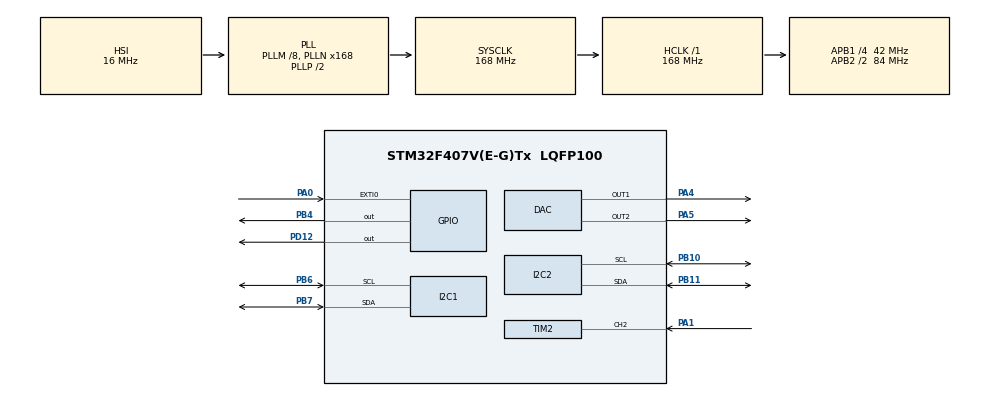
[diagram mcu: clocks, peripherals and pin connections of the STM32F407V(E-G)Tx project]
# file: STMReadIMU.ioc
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I2C1.I2C_Mode=I2C_Fast
I2C2.I2C_Mode=I2C_Fast
Mcu.Family=STM32F4
Mcu.Name=STM32F407V(E-G)Tx
Mcu.Package=LQFP100
NVIC.EXTI0_IRQn=true\:0\:0\:false\:false\:true\:true\:true\:true
NVIC.PriorityGroup=NVIC_PRIORITYGROUP_4
NVIC.TIM2_IRQn=true\:0\:0\:false\:false\:true\:true\:true\:true
NVIC.TIM3_IRQn=true\:0\:0\:false\:false\:true\:true\:true\:true
PA0-WKUP.Signal=GPXTI0
PA1.Signal=S_TIM2_CH2
PA13.Mode=Serial_Wire
PA13.Signal=SYS_JTMS-SWDIO
PA14.Mode=Serial_Wire
PA14.Signal=SYS_JTCK-SWCLK
PA4.Signal=COMP_DAC1_group
PA5.Signal=COMP_DAC2_group
PB10.Mode=I2C
PB10.Signal=I2C2_SCL
PB11.Mode=I2C
PB11.Signal=I2C2_SDA
PB4.Signal=GPIO_Output
PB6.GPIO_Pu=GPIO_NOPULL
PB6.Mode=I2C
PB6.Signal=I2C1_SCL
PB7.Mode=I2C
PB7.Signal=I2C1_SDA
PD12.Signal=GPIO_Output
ProjectManager.HeapSize=0x200
ProjectManager.StackSize=0x400
ProjectManager.TargetToolchain=MDK-ARM V5.32
RCC.48MHZClocksFreq_Value=84000000
RCC.AHBFreq_Value=168000000
RCC.APB1CLKDivider=RCC_HCLK_DIV4
RCC.APB1Freq_Value=42000000
RCC.APB1TimFreq_Value=84000000
RCC.APB2CLKDivider=RCC_HCLK_DIV2
RCC.APB2Freq_Value=84000000
RCC.APB2TimFreq_Value=168000000
RCC.CortexFreq_Value=168000000
RCC.HCLKFreq_Value=168000000
RCC.HSE_VALUE=25000000
RCC.HSI_VALUE=16000000
RCC.LSE_VALUE=32768
RCC.PLLM=8
RCC.PLLN=168
RCC.SYSCLKFreq_VALUE=168000000
RCC.SYSCLKSource=RCC_SYSCLKSOURCE_PLLCLK
RCC.VCOOutputFreq_Value=336000000
SH.COMP_DAC1_group.0=DAC_OUT1,DAC_OUT1
SH.COMP_DAC2_group.0=DAC_OUT2,DAC_OUT2
SH.S_TIM2_CH2.0=TIM2_CH2,TriggerSource_TI2FP2
TIM1.Prescaler=16799
TIM2.Period=99
TIM2.Slave_TriggerFilter=10
TIM3.Period=4999
TIM3.Prescaler=167
TIM4.Prescaler=83
VP_TIM1_VS_ClockSourceINT.Mode=Internal
VP_TIM2_VS_ControllerModeClock.Mode=Clock Mode
VP_TIM3_VS_ClockSourceINT.Mode=Internal
VP_TIM4_VS_ClockSourceINT.Mode=Internal
board=custom

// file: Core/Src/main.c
/* USER CODE BEGIN Header */
/**
  ******************************************************************************
  * @file           : main.c
  * @brief          : Main program body
  ******************************************************************************
  * @attention
  *
  * Copyright (c) 2026 STMicroelectronics.
  * All rights reserved.
  *
  * This software is licensed under terms that can be found in the LICENSE file
  * in the root directory of this software component.
  * If no LICENSE file comes with this software, it is provided AS-IS.
  *
  ******************************************************************************
  */
/* USER CODE END Header */
#include "main.h"
#include "dac.h"
#include "i2c.h"
#include "tim.h"
#include "gpio.h"

/* USER CODE BEGIN Includes */
#include <stdio.h>
#include <string.h>
#include "lsm6dsv_reg.h"
#include "stdbool.h"
#include "math.h"
#include "vqf6d.h"
#include "Estimate.h"
#include "utilzfunc.h"
#include "MadgwickAHRS.h"
/* USER CODE END Includes */

/* USER CODE BEGIN PTD */
#define DAC_MAX_VAL 0xFFF //
#define I2C1_SCL_PORT          GPIOB
#define I2C1_SCL_PIN           GPIO_PIN_6

#define I2C1_SDA_PORT          GPIOB
#define I2C1_SDA_PIN           GPIO_PIN_7

#define I2C2_SCL_PORT          GPIOB
#define I2C2_SCL_PIN           GPIO_PIN_10

#define I2C2_SDA_PORT          GPIOB
#define I2C2_SDA_PIN           GPIO_PIN_11

/* USER CODE END PTD */

/* USER CODE BEGIN PM */
int32_t writeI2CReg(void *handle, uint8_t reg, const uint8_t *bufp, uint16_t len);
int32_t readI2CReg(void *handle, uint8_t reg, uint8_t *bufp, uint16_t len);
void delay_ms(uint32_t ms);
void GetRawSensor(stmdev_ctx_t *dev_ctx,int16_t *acc_raw, int16_t *gyro_raw);
void GetCorrectedSensor(stmdev_ctx_t *dev_ctx, float *corrected_acc, float *corrected_gyr, int16_t *gyr_offset);
void ConfigureIMU(void);
HAL_StatusTypeDef I2C_BusRecovery(I2C_HandleTypeDef *I2Cx);
void CalibGyro(void);
int16_t test_angular_rate_raw[3];
float min(float a,float b);
float max(float a,float b);

/* USER CODE END PM */

/* USER CODE BEGIN PV */
uint8_t whoAmI1 = 0xFF;
uint8_t whoAmI2 = 0xFF;
uint8_t rst = 0;
uint8_t cnt1s = 0;
static int32_t acc_raw_acum1[3],acc_raw_acum2[3];
static int32_t gyr_raw_acum1[3],gyr_raw_acum2[3];
int16_t gyr_offset1[3] = {0,0,0};
int16_t gyr_offset2[3] = {0,0,0};
volatile int16_t acc_offset[3] = {0, 0, 0};
uint16_t calib_step = 0;
float compute_time;
//int32_t test_sum_gyr[3] = {0, 0, 0};
//uint16_t test_count = 0;
//float test_bias_x,test_bias_y,test_bias_z;
bool calib_enable = false; bool calib_occur = false;
float gValue1[3],gValue2[3];
float gyro1[3],gyro2[3];
float acc_test = 0;
float dac_bending = 0;
float dac_twisting = 0;
float test_compute1 = 0;
float test_compute2 = 0;
HAL_StatusTypeDef status;
uint16_t i2c2_error = 0;
float q1_E1S1[4], q2_E2S2[4];
float R1_E1S1[3][3], R2_E2S2[3][3];
static lsm6dsv_filt_settling_mask_t filt_settling_mask;
lsm6dsv_all_sources_t all_sources1,all_sources2;
stmdev_ctx_t dev_ctx1, dev_ctx2;
HAL_StatusTypeDef status_i2c2;
uint32_t error_i2c2;
static VQF6D vqf1;
static VQF6D vqf2;
Estimator estimator;
CalibProcess IMUCalib;
lsm6dsv_gy_full_scale_t fs1;
lsm6dsv_gy_full_scale_t fs2;
float twist_test = 0.0f;
float bend_test = 0.0f;
MadgwickFilter filter;
/* USER CODE END PV */

void SystemClock_Config(void);

int main(void)
{

  /* MCU Configuration--------------------------------------------------------*/

  /* Reset of all peripherals, Initializes the Flash interface and the Systick. */
  HAL_Init();

  /* Configure the system clock */
  SystemClock_Config();

  /* Initialize all configured peripherals */
  MX_GPIO_Init();
  MX_DAC_Init();
  MX_I2C1_Init();
  MX_TIM1_Init();
  MX_TIM2_Init();
  MX_I2C2_Init();
  MX_TIM3_Init();
  MX_TIM4_Init();
  /* USER CODE BEGIN 2 */
	HAL_TIM_Base_Start(&htim1);
	HAL_TIM_Base_Start_IT(&htim2);
	HAL_TIM_Base_Start(&htim4);
	HAL_DAC_Start(&hdac, DAC_CHANNEL_1);
	HAL_DAC_Start(&hdac, DAC_CHANNEL_2);
	dev_ctx1.write_reg = writeI2CReg;
	dev_ctx1.read_reg = readI2CReg;
	dev_ctx1.handle = &hi2c1;
	dev_ctx1.mdelay = delay_ms;
	dev_ctx2.write_reg = writeI2CReg;
	dev_ctx2.read_reg = readI2CReg;
	dev_ctx2.handle = &hi2c2;
	dev_ctx2.mdelay = delay_ms;
//	uint8_t i;
//	for(i = 1; i < 128; i++)
//	{
//		 if(HAL_I2C_IsDeviceReady(&hi2c2, (i << 1), 1, 10) == HAL_OK)
//		 {
//			 test_compute1 = 99;
//			 test_compute2 = i;
//			 break;
//     }
//		 else
//		 {
//				i2c2_error = HAL_I2C_GetError(&hi2c2);
//		 }
//	}
	lsm6dsv_device_id_get(&dev_ctx1, &whoAmI1);
 	while(whoAmI1 != LSM6DSV_ID)
	{
		rst = I2C_BusRecovery(&hi2c1);
		lsm6dsv_device_id_get(&dev_ctx1, &whoAmI1);
	}
	rst = lsm6dsv_sw_reset(&dev_ctx1);
	delay_ms(10);
	lsm6dsv_device_id_get(&dev_ctx2, &whoAmI2);
 	while(whoAmI2 != LSM6DSV_ID)
	{
		rst = I2C_BusRecovery(&hi2c2);
		lsm6dsv_device_id_get(&dev_ctx2, &whoAmI2);
	}
	rst = lsm6dsv_sw_reset(&dev_ctx2);
	delay_ms(10);
	/* Restore default configuration */
	lsm6dsv_sw_por(&dev_ctx1);
	delay_ms(10);
	lsm6dsv_sw_por(&dev_ctx2);
	delay_ms(10);
	ConfigureIMU();
	delay_ms(50);
	CalibGyro();
	VQF6D_Params p;
	VQF6D_GetDefaultParams(&p);
	VQF6D_Init(&vqf1, 0.01f, 0.01f, &p);
	VQF6D_Init(&vqf2, 0.01f, 0.01f, &p);
	InitEstimator(&estimator);
	InitFilter(&filter);
	InitCalibProcess(&IMUCalib);
	HAL_TIM_Base_Start_IT(&htim3);
  /* USER CODE END 2 */

  /* Infinite loop */
  while (1)
  {

  }
}

void SystemClock_Config(void)
{
  RCC_OscInitTypeDef RCC_OscInitStruct = {0};
  RCC_ClkInitTypeDef RCC_ClkInitStruct = {0};

  /** Configure the main internal regulator output voltage
  */
  __HAL_RCC_PWR_CLK_ENABLE();
  __HAL_PWR_VOLTAGESCALING_CONFIG(PWR_REGULATOR_VOLTAGE_SCALE1);

  /** Initializes the RCC Oscillators according to the specified parameters
  * in the RCC_OscInitTypeDef structure.
  */
  RCC_OscInitStruct.OscillatorType = RCC_OSCILLATORTYPE_HSI;
  RCC_OscInitStruct.HSIState = RCC_HSI_ON;
  RCC_OscInitStruct.HSICalibrationValue = RCC_HSICALIBRATION_DEFAULT;
  RCC_OscInitStruct.PLL.PLLState = RCC_PLL_ON;
  RCC_OscInitStruct.PLL.PLLSource = RCC_PLLSOURCE_HSI;
  RCC_OscInitStruct.PLL.PLLM = 8;
  RCC_OscInitStruct.PLL.PLLN = 168;
  RCC_OscInitStruct.PLL.PLLP = RCC_PLLP_DIV2;
  RCC_OscInitStruct.PLL.PLLQ = 4;
  if (HAL_RCC_OscConfig(&RCC_OscInitStruct) != HAL_OK)
  {
    Error_Handler();
  }

  /** Initializes the CPU, AHB and APB buses clocks
  */
  RCC_ClkInitStruct.ClockType = RCC_CLOCKTYPE_HCLK|RCC_CLOCKTYPE_SYSCLK
                              |RCC_CLOCKTYPE_PCLK1|RCC_CLOCKTYPE_PCLK2;
  RCC_ClkInitStruct.SYSCLKSource = RCC_SYSCLKSOURCE_PLLCLK;
  RCC_ClkInitStruct.AHBCLKDivider = RCC_SYSCLK_DIV1;
  RCC_ClkInitStruct.APB1CLKDivider = RCC_HCLK_DIV4;
  RCC_ClkInitStruct.APB2CLKDivider = RCC_HCLK_DIV2;

  if (HAL_RCC_ClockConfig(&RCC_ClkInitStruct, FLASH_LATENCY_5) != HAL_OK)
  {
    Error_Handler();
  }
}

/* USER CODE BEGIN 4 */
int32_t writeI2CReg(void *handle, uint8_t reg, const uint8_t *bufp, uint16_t len)
{
	HAL_I2C_Mem_Write(handle, LSM6DSV_I2C_ADD_H, reg, I2C_MEMADD_SIZE_8BIT, (uint8_t*) bufp, len, 1000);
	return 0;
}
int32_t readI2CReg(void *handle, uint8_t reg, uint8_t *bufp, uint16_t len)
{
	HAL_I2C_Mem_Read(handle, LSM6DSV_I2C_ADD_H, reg, I2C_MEMADD_SIZE_8BIT, bufp, len, 1000);
	return 0;
}
void delay_ms(uint32_t ms)
{
	__HAL_TIM_SET_COUNTER(&htim1,0);
	while (__HAL_TIM_GET_COUNTER(&htim1) < ms*10);
}

void ConfigureIMU(void)
{
    /* Enable Block Data Update */
    lsm6dsv_block_data_update_set(&dev_ctx1, PROPERTY_ENABLE);
    lsm6dsv_xl_data_rate_set(&dev_ctx1, LSM6DSV_ODR_AT_1920Hz);
    lsm6dsv_gy_data_rate_set(&dev_ctx1, LSM6DSV_ODR_AT_1920Hz);

    /* Set full scale */
    lsm6dsv_xl_full_scale_set(&dev_ctx1, LSM6DSV_4g);
    lsm6dsv_gy_full_scale_set(&dev_ctx1, LSM6DSV_500dps);
    /*Set mode*/
    lsm6dsv_xl_mode_set(&dev_ctx1, LSM6DSV_XL_HIGH_PERFORMANCE_MD);
    lsm6dsv_gy_mode_set(&dev_ctx1, LSM6DSV_GY_HIGH_PERFORMANCE_MD);
    /* Configure filtering chain */
    filt_settling_mask.drdy = PROPERTY_ENABLE;
    filt_settling_mask.irq_xl = PROPERTY_ENABLE;
    filt_settling_mask.irq_g = PROPERTY_ENABLE;
    lsm6dsv_filt_settling_mask_set(&dev_ctx1, filt_settling_mask);
	// Gyrocope LPF Bandwidth: 154Hz
    lsm6dsv_filt_gy_lp1_set(&dev_ctx1, PROPERTY_ENABLE);
    lsm6dsv_filt_gy_lp1_bandwidth_set(&dev_ctx1, LSM6DSV_GY_MEDIUM);
	// Accelerometer LPF Bandwidth:
    lsm6dsv_filt_xl_lp2_set(&dev_ctx1, PROPERTY_ENABLE);
    lsm6dsv_filt_xl_lp2_bandwidth_set(&dev_ctx1, LSM6DSV_XL_MEDIUM);
		lsm6dsv_gy_full_scale_get(&dev_ctx1, &fs1);
		 /* Enable Block Data Update */
    lsm6dsv_block_data_update_set(&dev_ctx2, PROPERTY_ENABLE);
    lsm6dsv_xl_data_rate_set(&dev_ctx2, LSM6DSV_ODR_AT_1920Hz);
    lsm6dsv_gy_data_rate_set(&dev_ctx2, LSM6DSV_ODR_AT_1920Hz);

    /* Set full scale */
    lsm6dsv_xl_full_scale_set(&dev_ctx2, LSM6DSV_4g);
    lsm6dsv_gy_full_scale_set(&dev_ctx2, LSM6DSV_500dps);
    /*Set mode*/
    lsm6dsv_xl_mode_set(&dev_ctx2, LSM6DSV_XL_HIGH_PERFORMANCE_MD);
    lsm6dsv_gy_mode_set(&dev_ctx2, LSM6DSV_GY_HIGH_PERFORMANCE_MD);
    lsm6dsv_filt_settling_mask_set(&dev_ctx2, filt_settling_mask);
	// Gyrocope LPF Bandwidth: 154Hz
    lsm6dsv_filt_gy_lp1_set(&dev_ctx2, PROPERTY_ENABLE);
    lsm6dsv_filt_gy_lp1_bandwidth_set(&dev_ctx2, LSM6DSV_GY_MEDIUM);
	// Accelerometer LPF Bandwidth:
    lsm6dsv_filt_xl_lp2_set(&dev_ctx2, PROPERTY_ENABLE);
    lsm6dsv_filt_xl_lp2_bandwidth_set(&dev_ctx2, LSM6DSV_XL_MEDIUM);
		lsm6dsv_gy_full_scale_get(&dev_ctx2, &fs2);

}

void GetRawSensor(stmdev_ctx_t *dev_ctx, int16_t *acc_raw, int16_t *gyro_raw)
{
    uint8_t buf[12];
    HAL_StatusTypeDef status;

    status = HAL_I2C_Mem_Read(dev_ctx->handle, LSM6DSV_I2C_ADD_H, LSM6DSV_OUTX_L_G, I2C_MEMADD_SIZE_8BIT, buf, 12, 10);

    if(status != HAL_OK)
    {
				HAL_GPIO_TogglePin(GPIOD, GPIO_PIN_12);
        return;
    }

    gyro_raw[0] = (int16_t)((uint16_t)buf[1] << 8 | buf[0]);
    gyro_raw[1] = (int16_t)((uint16_t)buf[3] << 8 | buf[2]);
    gyro_raw[2] = (int16_t)((uint16_t)buf[5] << 8 | buf[4]);

    acc_raw[0] = (int16_t)((uint16_t)buf[7] << 8 | buf[6]);
    acc_raw[1] = (int16_t)((uint16_t)buf[9] << 8 | buf[8]);
    acc_raw[2] = (int16_t)((uint16_t)buf[11] << 8 | buf[10]);
}

void GetCorrectedSensor(stmdev_ctx_t *dev_ctx, float *corrected_acc, float *corrected_gyr, int16_t *gyr_offset)
{
		int16_t data_raw_acceleration[3] = {0, 0, 0};
		int16_t data_raw_angular_rate[3] = {0, 0, 0};
    GetRawSensor(dev_ctx, data_raw_acceleration, data_raw_angular_rate);

    corrected_acc[0] = lsm6dsv_from_fs4_to_mg(data_raw_acceleration[0])*0.001f;
    corrected_acc[1] = lsm6dsv_from_fs4_to_mg(data_raw_acceleration[1])*0.001f;
    corrected_acc[2] = lsm6dsv_from_fs4_to_mg(data_raw_acceleration[2])*0.001f;

    corrected_gyr[0] = lsm6dsv_from_fs500_to_mdps(data_raw_angular_rate[0] - gyr_offset[0])*0.001f ;
    corrected_gyr[1] = lsm6dsv_from_fs500_to_mdps(data_raw_angular_rate[1] - gyr_offset[1])*0.001f ;
    corrected_gyr[2] = lsm6dsv_from_fs500_to_mdps(data_raw_angular_rate[2] - gyr_offset[2])*0.001f ;

		corrected_gyr[0] *= 0.0174533f;
		corrected_gyr[1] *= 0.0174533f;
		corrected_gyr[2] *= 0.0174533f;
}

void HAL_TIM_PeriodElapsedCallback(TIM_HandleTypeDef *htim)
{
    if (htim->Instance == TIM2)
    {
//				uint16_t dt = __HAL_TIM_GET_COUNTER(&htim4);
//				compute_time = dt*0.001f;
//				estimator.invSampleFreq = compute_time*0.001f;
//				__HAL_TIM_SET_COUNTER(&htim4, 0);
//				GetCorrectedSensor(&dev_ctx1,gValue1,gyro1, gyr_offset1);
//				GetCorrectedSensor(&dev_ctx2,gValue2,gyro2, gyr_offset2);
//				ComputeAngles(&estimator, gyro1, gyro2,gValue1, gValue2);
//				dac_bending = (uint16_t)(estimator.bending_angle*19.975f + 499.5f);
//				dac_bending = (dac_bending > 4095)? 4095 : (dac_bending < 0) ? 0: dac_bending;
//				dac_twisting = (uint16_t)(estimator.twist_angle*15.3653846f + 1021.92f);
//				dac_twisting = (dac_twisting > 4095)? 4095 : (dac_twisting < 0) ? 0: dac_twisting;
//				HAL_DAC_SetValue(&hdac,DAC_CHANNEL_1,DAC_ALIGN_12B_R, dac_bending);
//				HAL_DAC_SetValue(&hdac,DAC_CHANNEL_2,DAC_ALIGN_12B_R, dac_twisting);
//				cnt1s++;
//				if(cnt1s > 100)
//				{
//					HAL_GPIO_TogglePin(GPIOD, GPIO_PIN_12);
//					cnt1s = 0;
//				}
    }
			if (htim->Instance == TIM3)
			{
				//Get Data
				GetCorrectedSensor(&dev_ctx1,gValue1,gyro1, gyr_offset1);
				GetCorrectedSensor(&dev_ctx2,gValue2,gyro2, gyr_offset2);
				ComputeAngles(&estimator, gyro1, gyro2,gValue1, gValue2);
//				// Run VQF Sensor Fushion
//				VQF6D_Update(&vqf1, gyro1, gValue1);
//				VQF6D_GetQuat6D(&vqf1, q1_E1S1);
////				VQF6D_QuatToRotMat(q1_E1S1, R1_E1S1);
//				VQF6D_Update(&vqf2, gyro2, gValue2);
//				VQF6D_GetQuat6D(&vqf2, q2_E2S2);
////				VQF6D_QuatToRotMat(q2_E2S2, R2_E2S2);
//				filter.qCurr.q0 = q2_E2S2[0];
//				filter.qCurr.q1 = q2_E2S2[1];
//				filter.qCurr.q2 = q2_E2S2[2];
//				filter.qCurr.q3 = q2_E2S2[3];
//				computeTwistBendAngles(&filter);
//				UpdateJointAxis1(&IMUCalib, gyro1);
//				if(!IMUCalib.u1_locked)
//				{
//					ComputeJointAxis1(&IMUCalib);
//				}
//				else if (!IMUCalib.u2_locked)
//				{
//						UpdateJointAxis2(&IMUCalib, gyro1, gyro2);
//						ComputeJointAxis2(&IMUCalib);
//				}
//				else ComputeJ12Axis(&IMUCalib,gyro1, gyro2);

//				twist_test = atan2(2.0f*(q1_E1S1[0]*q1_E1S1[1]+q1_E1S1[2]*q1_E1S1[3]), 1.0f-2.0f*(q1_E1S1[1]*q1_E1S1[1] + q1_E1S1[2]*q1_E1S1[2])) * 57.2957795f; // x axis
//				twist_test = -twist_test;
//				estimator.twist_angle = -filter.twist_angle;
//				bend_test = asin(max(-1.0f,min(1.0f,2.0f*(q1_E1S1[0]*q1_E1S1[2]-q1_E1S1[3]*q1_E1S1[1]))))*57.2957795f; // y axis
//				bend_test = -bend_test + 90.0f;
//				estimator.bending_angle = -filter.bending_angle + 90.0f;
//				float bias1[3];
//				float bias2[3];
//				float biasSigma1;
//				float biasSigma2;

//				float gyro1_corr[3];
//				float gyro2_corr[3];

//				VQF6D_GetBiasEstimate(&vqf1, bias1, &biasSigma1);
//				VQF6D_GetBiasEstimate(&vqf2, bias2, &biasSigma2);

//			test_compute1 = atan2f(estimator.ee_omega_meas[0],estimator.ee_omega_meas[1]) * 57.2957795f;
//			test_compute2 = cosf(estimator.q2_pred)*estimator.ee_omega_meas[0] - sinf(estimator.q2_pred)*estimator.ee_omega_meas[1];

				acc_test = sqrt(gValue2[0]*gValue2[0] + gValue2[1]*gValue2[1] + gValue2[2]*gValue2[2]);

			}
}

void HAL_GPIO_EXTI_Callback(uint16_t GPIO_Pin)
{
  if(GPIO_Pin == GPIO_PIN_0)
  {
    NVIC_SystemReset();
  }
}

void CalibGyro(void)
{
		calib_step = 0;
		calib_occur = true;
		gyr_raw_acum1[0] = 0; gyr_raw_acum1[1] = 0; gyr_raw_acum1[2] = 0;
		acc_raw_acum1[0] = 0; acc_raw_acum1[1] = 0; acc_raw_acum1[2] = 0;

		gyr_raw_acum2[0] = 0; gyr_raw_acum2[1] = 0; gyr_raw_acum2[2] = 0;
		acc_raw_acum2[0] = 0; acc_raw_acum2[1] = 0; acc_raw_acum2[2] = 0;
		while(calib_occur)
		{
				if(calib_step < 1000)
				{
						__HAL_TIM_SET_COUNTER(&htim4, 0);
						int16_t data_raw_accelerometer[3], data_raw_angular_rate[3];
					  GetRawSensor(&dev_ctx1, data_raw_accelerometer, data_raw_angular_rate);
						gyr_raw_acum1[0] += data_raw_angular_rate[0];
						gyr_raw_acum1[1] += data_raw_angular_rate[1];
						gyr_raw_acum1[2] += data_raw_angular_rate[2];

						acc_raw_acum1[0] += data_raw_accelerometer[0];
						acc_raw_acum1[1] += data_raw_accelerometer[1];
						acc_raw_acum1[2] += data_raw_accelerometer[2];

						GetRawSensor(&dev_ctx2, data_raw_accelerometer, data_raw_angular_rate);
						gyr_raw_acum2[0] += data_raw_angular_rate[0];
						gyr_raw_acum2[1] += data_raw_angular_rate[1];
						gyr_raw_acum2[2] += data_raw_angular_rate[2];

						acc_raw_acum2[0] += data_raw_accelerometer[0];
						acc_raw_acum2[1] += data_raw_accelerometer[1];
						acc_raw_acum2[2] += data_raw_accelerometer[2];

						calib_step++;

				}
				else
				{
						gyr_offset1[0] = (float)(gyr_raw_acum1[0])/(float)calib_step;
						gyr_offset1[1] = (float)(gyr_raw_acum1[1])/(float)calib_step;
						gyr_offset1[2] = (float)(gyr_raw_acum1[2])/(float)calib_step;

						gyr_offset2[0] = (float)(gyr_raw_acum2[0])/(float)calib_step;
						gyr_offset2[1] = (float)(gyr_raw_acum2[1])/(float)calib_step;
						gyr_offset2[2] = (float)(gyr_raw_acum2[2])/(float)calib_step;

						estimator.g10[0] = ((float)(acc_raw_acum1[0])/calib_step)*0.122f*0.001f;
						estimator.g10[1] = ((float)(acc_raw_acum1[1])/calib_step)*0.122f*0.001f;
						estimator.g10[2] = ((float)(acc_raw_acum1[2])/calib_step)*0.122f*0.001f;
						float norm_g10 = sqrt(estimator.g10[0]*estimator.g10[0] + estimator.g10[1]*estimator.g10[1] + estimator.g10[2]*estimator.g10[2]);
						estimator.g10[0] /= norm_g10;
						estimator.g10[1] /= norm_g10;
						estimator.g10[2] /= norm_g10;

						estimator.g20[0] = ((float)(acc_raw_acum2[0])/calib_step)*0.122f*0.001;
						estimator.g20[1] = ((float)(acc_raw_acum2[1])/calib_step)*0.122f*0.001f;
						estimator.g20[2] = ((float)(acc_raw_acum2[2])/calib_step)*0.122f*0.001;
						float norm_g20 = sqrt(estimator.g20[0]*estimator.g20[0] + estimator.g20[1]*estimator.g20[1] + estimator.g20[2]*estimator.g20[2]);
						estimator.g20[0] /= norm_g20;
						estimator.g20[1] /= norm_g20;
						estimator.g20[2] /= norm_g20;

						calib_occur = false;
				}
				uint16_t dt = __HAL_TIM_GET_COUNTER(&htim4);
				compute_time = dt*0.001f;
				delay_ms(2);
		}
}
HAL_StatusTypeDef I2C_BusRecovery(I2C_HandleTypeDef *I2Cx)
{
    GPIO_InitTypeDef GPIO_InitStruct = {0};

    GPIO_TypeDef *scl_port, *sda_port;
    uint16_t scl_pin, sda_pin;

    if (I2Cx->Instance == I2C1)
    {
        scl_port = I2C1_SCL_PORT;
        scl_pin  = I2C1_SCL_PIN;
        sda_port = I2C1_SDA_PORT;
        sda_pin  = I2C1_SDA_PIN;
    }
    else if (I2Cx->Instance == I2C2)
    {
        scl_port = I2C2_SCL_PORT;
        scl_pin  = I2C2_SCL_PIN;
        sda_port = I2C2_SDA_PORT;
        sda_pin  = I2C2_SDA_PIN;
    }
    else
    {
        return HAL_ERROR;
    }

    HAL_I2C_DeInit(I2Cx);

    GPIO_InitStruct.Mode = GPIO_MODE_OUTPUT_OD;
    GPIO_InitStruct.Pull = GPIO_NOPULL;
    GPIO_InitStruct.Speed = GPIO_SPEED_FREQ_LOW;

    GPIO_InitStruct.Pin = scl_pin;
    HAL_GPIO_Init(scl_port, &GPIO_InitStruct);

    GPIO_InitStruct.Pin = sda_pin;
    HAL_GPIO_Init(sda_port, &GPIO_InitStruct);

    HAL_GPIO_WritePin(scl_port, scl_pin, GPIO_PIN_SET);
    HAL_GPIO_WritePin(sda_port, sda_pin, GPIO_PIN_SET);
    HAL_Delay(1);

    if (HAL_GPIO_ReadPin(scl_port, scl_pin) == GPIO_PIN_RESET)
    {
        goto recovery_failed;
    }

    for (int i = 0; i < 9 && HAL_GPIO_ReadPin(sda_port, sda_pin) == GPIO_PIN_RESET; i++)
    {
        HAL_GPIO_WritePin(scl_port, scl_pin, GPIO_PIN_RESET);
        HAL_Delay(1);

        HAL_GPIO_WritePin(scl_port, scl_pin, GPIO_PIN_SET);
        HAL_Delay(1);

        if (HAL_GPIO_ReadPin(scl_port, scl_pin) == GPIO_PIN_RESET)
        {
            goto recovery_failed;
        }
    }

    HAL_GPIO_WritePin(sda_port, sda_pin, GPIO_PIN_RESET);
    HAL_Delay(1);

    HAL_GPIO_WritePin(scl_port, scl_pin, GPIO_PIN_SET);
    HAL_Delay(1);

    if (HAL_GPIO_ReadPin(scl_port, scl_pin) == GPIO_PIN_RESET)
    {
        goto recovery_failed;
    }

    HAL_GPIO_WritePin(sda_port, sda_pin, GPIO_PIN_SET);
    HAL_Delay(1);

    if (HAL_GPIO_ReadPin(sda_port, sda_pin) != GPIO_PIN_SET ||
        HAL_GPIO_ReadPin(scl_port, scl_pin) != GPIO_PIN_SET)
    {
        goto recovery_failed;
    }

    if (I2Cx->Instance == I2C1) {
        MX_I2C1_Init();
    } else if (I2Cx->Instance == I2C2) {
        MX_I2C2_Init();
    }

    return HAL_OK;

recovery_failed:
    if (I2Cx->Instance == I2C1) {
        MX_I2C1_Init();
    } else if (I2Cx->Instance == I2C2) {
        MX_I2C2_Init();
    }
    return HAL_ERROR;
}
float min(float a,float b)
{
	return (a > b)? b : a;
}
float max(float a,float b)
{
	return (a>b)? a : b;
}
/* USER CODE END 4 */

void Error_Handler(void)
{
  __disable_irq();
  while (1)
  {
  }
}
